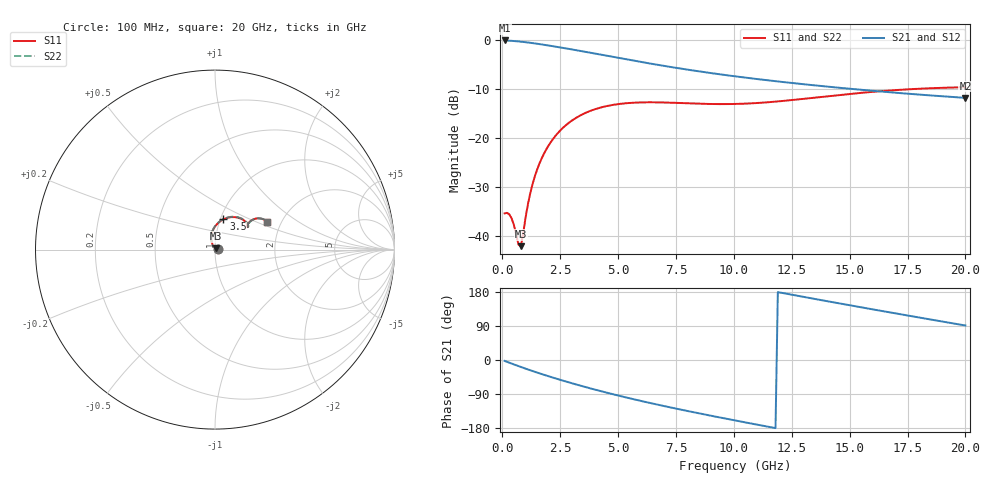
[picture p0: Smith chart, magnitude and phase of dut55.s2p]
! Touchstone file exported from HFSS 2024.1.0
!  File:  C:/UserFiles/LocalFiles/RDL_TSV_Batchsim/temp_RDL_TSV_55_1779407799.aedt
!  Generated:  08:11:54 AM May 22, 2026
!  Design:  RDL_TSV
!  Project:  temp_RDL_TSV_55_1779407799
!  Setup:  Setup1
!  Solution:  Sweep
! Variables:
!  dtsv = 13.59um
!  hbump = 3um
!  htsv = 56.51um
!  ldown = 510um
!  lrdl = 687.26um
!  p = 40
!  p1 = 54.43um
!  rhole = 10um
!  subl = 4279.04um
!  t = 450um
!  tdown = 3.94um
!  trdl = 3.11um
!  viad = 10um
!  wdown = 26.11um
!  wrdl = 28.27um
!  xbump = 18um
# GHz S MA R 50.000000
! Terminal data exported
! Port[1] = TM1_1_T1
! Port[2] = TM1_4_T1
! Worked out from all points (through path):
!   200 points, 100 MHz to 20 GHz, reference 50 ohm
!   highest |S21| = -0.15 dB at 100 MHz (marker M1); lowest = -11.9 dB at 20 GHz (marker M2)
!   group delay of S21, straight-line fit = 35.4 ps
!   lowest |S11| = -42.1 dB at 800 MHz (marker M3), VSWR 1.02, Z = 50.3 + j0.733 ohm
!   |S11| at or under -10 dB: start of sweep to 18.02 GHz
!   |S22| runs from -42.1 to -9.6 dB; largest |S21 - S12| = 7e-15
!   S11 on the Smith chart (normalised r, x): 100 MHz: 1.03, +0.00; 3.5 GHz: 1.04, +0.36; 20 GHz: 1.68, +0.59
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0.1  0.01691 4.0  0.9824 -2.4  0.9824 -2.4  0.01691 4.0
! Gamma 0 0 0 0
! Port Impedance 50 0 50 0
0.3  0.01659 6.0  0.9771 -7.1  0.9771 -7.1  0.01657 6.0
0.4  0.01512 6.8  0.9736 -9.4  0.9736 -9.4  0.01509 6.8
0.5  0.01292 9.9  0.9697 -11.7  0.9697 -11.7  0.01287 10.0
0.7  0.008111 37.0  0.9605 -16.1  0.9605 -16.1  0.00806 37.7
0.8  0.007835 68.5  0.9553 -18.3  0.9553 -18.3  0.007853 69.6
1.1  0.02058 113.1  0.9373 -24.8  0.9373 -24.8  0.02081 113.5
1.2  0.02671 115.2  0.9308 -26.9  0.9308 -26.9  0.02699 115.4
1.4  0.04005 114.7  0.9169 -31.1  0.9169 -31.1  0.04044 114.9
1.7  0.0615 109.9  0.8951 -37.1  0.8951 -37.1  0.06206 110.1
2.1  0.09062 101.6  0.865 -44.8  0.865 -44.8  0.09141 101.8
2.5  0.1184 93.2  0.8344 -52.3  0.8344 -52.3  0.1194 93.3
3.5  0.1751 74.3  0.7588 -69.9  0.7588 -69.9  0.1767 74.4
4.2  0.2018 63.5  0.708 -81.3  0.708 -81.3  0.2038 63.7
5.1  0.2218 52.5  0.6472 -95.2  0.6472 -95.2  0.2241 52.6
6.8  0.2294 39.3  0.5497 -119.1  0.5497 -119.1  0.2321 39.3
8.3  0.2232 34.8  0.4829 -138.3  0.4829 -138.3  0.226 34.7
10.1  0.2212 35.4  0.4217 -160.0  0.4217 -160.0  0.2238 35.2
11.6  0.2314 37.6  0.3821 -177.5  0.3821 -177.5  0.2338 37.4
13.4  0.2552 38.8  0.3439 162.2  0.3439 162.2  0.2574 38.5
16.7  0.3029 35.0  0.2915 126.0  0.2915 126.0  0.3049 34.8
20  0.3274 28.4  0.2553 91.0  0.2553 91.0  0.3294 28.2
